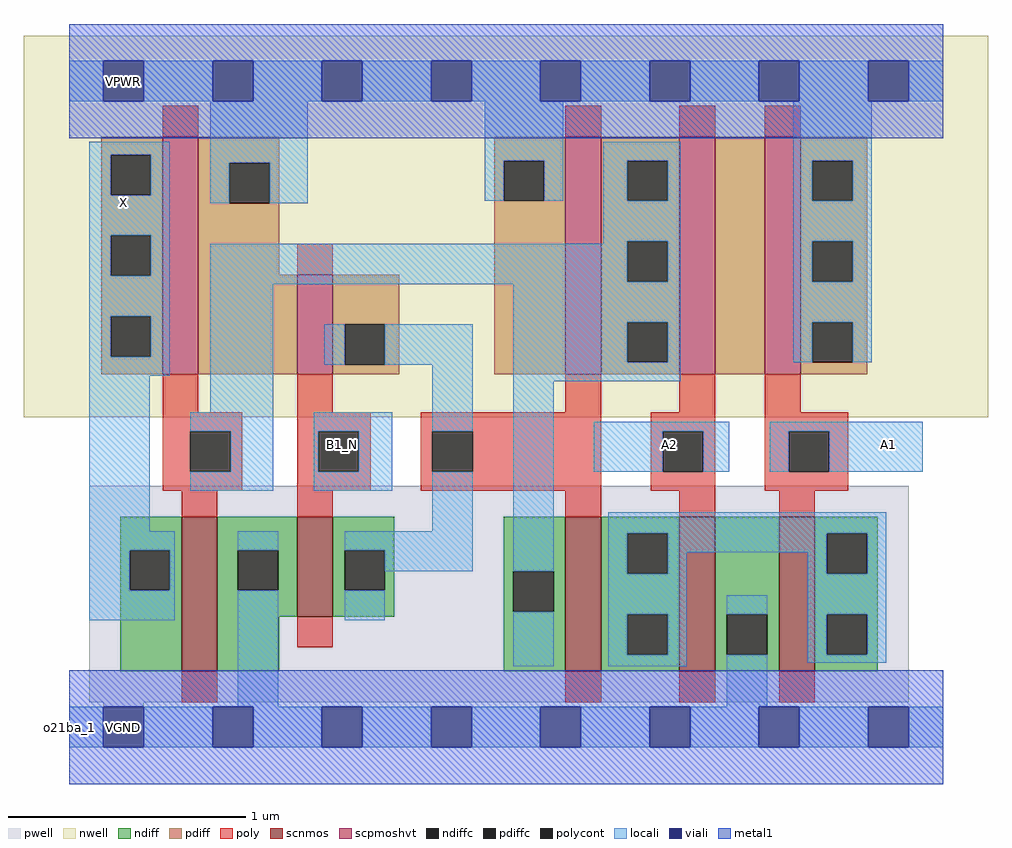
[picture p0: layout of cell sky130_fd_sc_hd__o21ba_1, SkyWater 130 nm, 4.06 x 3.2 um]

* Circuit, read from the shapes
.subckt sky130_fd_sc_hd__o21ba_1 VGND VPWR VPB VNB B1_N A1 A2 X
XM1 VGND n1 X VNB sky130_fd_pr__nfet_01v8 w=0.65 l=0.15
XM2 n2 B1_N VGND VNB sky130_fd_pr__nfet_01v8 w=0.42 l=0.15
XM3 n3 n2 n1 VNB sky130_fd_pr__nfet_01v8 w=0.65 l=0.15
XM4 VGND A2 n3 VNB sky130_fd_pr__nfet_01v8 w=0.65 l=0.15
XM5 n3 A1 VGND VNB sky130_fd_pr__nfet_01v8 w=0.65 l=0.15
XM6 VPWR n1 X VPB sky130_fd_pr__pfet_01v8_hvt w=1 l=0.15
XM7 n2 B1_N VPWR VPB sky130_fd_pr__pfet_01v8_hvt w=0.42 l=0.15
XM8 n1 n2 VPWR VPB sky130_fd_pr__pfet_01v8_hvt w=1 l=0.15
XM9 n4 A2 n1 VPB sky130_fd_pr__pfet_01v8_hvt w=1 l=0.15
XM10 VPWR A1 n4 VPB sky130_fd_pr__pfet_01v8_hvt w=1 l=0.15
.ends

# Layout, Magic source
magic
tech sky130B
magscale 1 2
<< nwell >>
rect -38 221 774 542
<< pwell >>
rect 17 -19 707 163
rect 29 -57 63 -19
<< scnmos >>
rect 95 7 125 137
rect 192 53 222 137
rect 418 7 448 137
rect 514 7 544 137
rect 598 7 628 137
<< scpmoshvt >>
rect 79 257 109 457
rect 192 257 222 341
rect 418 257 448 457
rect 514 257 544 457
rect 586 257 616 457
<< ndiff >>
rect 43 109 95 137
rect 43 75 51 109
rect 85 75 95 109
rect 43 7 95 75
rect 125 109 192 137
rect 125 75 142 109
rect 176 75 192 109
rect 125 53 192 75
rect 222 109 274 137
rect 222 75 232 109
rect 266 75 274 109
rect 222 53 274 75
rect 366 91 418 137
rect 366 57 374 91
rect 408 57 418 91
rect 125 7 177 53
rect 366 7 418 57
rect 448 123 514 137
rect 448 89 470 123
rect 504 89 514 123
rect 448 55 514 89
rect 448 21 470 55
rect 504 21 514 55
rect 448 7 514 21
rect 544 55 598 137
rect 544 21 554 55
rect 588 21 598 55
rect 544 7 598 21
rect 628 123 681 137
rect 628 89 638 123
rect 672 89 681 123
rect 628 55 681 89
rect 628 21 638 55
rect 672 21 681 55
rect 628 7 681 21
<< pdiff >>
rect 27 442 79 457
rect 27 408 35 442
rect 69 408 79 442
rect 27 374 79 408
rect 27 340 35 374
rect 69 340 79 374
rect 27 306 79 340
rect 27 272 35 306
rect 69 272 79 306
rect 27 257 79 272
rect 109 435 177 457
rect 109 401 135 435
rect 169 401 177 435
rect 109 341 177 401
rect 358 437 418 457
rect 358 403 366 437
rect 400 403 418 437
rect 109 257 192 341
rect 222 299 278 341
rect 222 265 232 299
rect 266 265 278 299
rect 222 257 278 265
rect 358 257 418 403
rect 448 437 514 457
rect 448 403 470 437
rect 504 403 514 437
rect 448 369 514 403
rect 448 335 470 369
rect 504 335 514 369
rect 448 301 514 335
rect 448 267 470 301
rect 504 267 514 301
rect 448 257 514 267
rect 544 257 586 457
rect 616 437 672 457
rect 616 403 626 437
rect 660 403 672 437
rect 616 369 672 403
rect 616 335 626 369
rect 660 335 672 369
rect 616 301 672 335
rect 616 267 626 301
rect 660 267 672 301
rect 616 257 672 267
<< ndiffc >>
rect 51 75 85 109
rect 142 75 176 109
rect 232 75 266 109
rect 374 57 408 91
rect 470 89 504 123
rect 470 21 504 55
rect 554 21 588 55
rect 638 89 672 123
rect 638 21 672 55
<< pdiffc >>
rect 35 408 69 442
rect 35 340 69 374
rect 35 272 69 306
rect 135 401 169 435
rect 366 403 400 437
rect 232 265 266 299
rect 470 403 504 437
rect 470 335 504 369
rect 470 267 504 301
rect 626 403 660 437
rect 626 335 660 369
rect 626 267 660 301
<< poly >>
rect 79 457 109 483
rect 418 457 448 483
rect 514 457 544 483
rect 586 457 616 483
rect 192 341 222 367
rect 79 225 109 257
rect 192 225 222 257
rect 418 225 448 257
rect 514 225 544 257
rect 79 209 146 225
rect 79 175 102 209
rect 136 175 146 209
rect 79 159 146 175
rect 192 209 254 225
rect 192 175 210 209
rect 244 175 254 209
rect 192 159 254 175
rect 296 209 448 225
rect 296 175 306 209
rect 340 175 448 209
rect 296 159 448 175
rect 490 209 544 225
rect 490 175 500 209
rect 534 175 544 209
rect 490 159 544 175
rect 586 225 616 257
rect 586 209 656 225
rect 586 175 606 209
rect 640 175 656 209
rect 586 159 656 175
rect 95 137 125 159
rect 192 137 222 159
rect 418 137 448 159
rect 514 137 544 159
rect 598 137 628 159
rect 192 27 222 53
rect 95 -19 125 7
rect 418 -19 448 7
rect 514 -19 544 7
rect 598 -19 628 7
<< polycont >>
rect 102 175 136 209
rect 210 175 244 209
rect 306 175 340 209
rect 500 175 534 209
rect 606 175 640 209
<< locali >>
rect 0 487 29 521
rect 63 487 121 521
rect 155 487 213 521
rect 247 487 305 521
rect 339 487 397 521
rect 431 487 489 521
rect 523 487 581 521
rect 615 487 673 521
rect 707 487 736 521
rect 17 442 85 453
rect 17 408 35 442
rect 69 408 85 442
rect 17 374 85 408
rect 119 435 201 487
rect 119 401 135 435
rect 169 401 201 435
rect 350 437 416 487
rect 350 403 366 437
rect 400 403 416 437
rect 450 437 515 453
rect 450 403 470 437
rect 504 403 515 437
rect 17 340 35 374
rect 69 340 85 374
rect 450 369 515 403
rect 450 367 470 369
rect 17 306 85 340
rect 17 272 35 306
rect 69 272 85 306
rect 17 256 85 272
rect 119 335 470 367
rect 504 335 515 369
rect 119 333 515 335
rect 17 125 68 256
rect 119 225 172 333
rect 374 301 515 333
rect 215 265 232 299
rect 266 265 340 299
rect 102 209 172 225
rect 136 175 172 209
rect 102 159 172 175
rect 206 209 272 225
rect 206 175 210 209
rect 244 175 272 209
rect 206 159 272 175
rect 306 209 340 265
rect 306 125 340 175
rect 17 109 89 125
rect 17 75 51 109
rect 85 75 89 109
rect 17 50 89 75
rect 142 109 176 125
rect 142 -23 176 75
rect 232 109 340 125
rect 266 91 340 109
rect 374 267 470 301
rect 504 267 515 301
rect 610 437 676 487
rect 610 403 626 437
rect 660 403 676 437
rect 610 369 676 403
rect 610 335 626 369
rect 660 335 676 369
rect 610 301 676 335
rect 610 267 626 301
rect 660 267 676 301
rect 374 251 515 267
rect 374 91 408 251
rect 442 209 556 217
rect 442 175 500 209
rect 534 175 556 209
rect 590 209 719 217
rect 590 175 606 209
rect 640 175 719 209
rect 232 50 266 75
rect 374 11 408 57
rect 454 123 688 141
rect 454 89 470 123
rect 504 107 638 123
rect 504 89 520 107
rect 454 55 520 89
rect 622 89 638 107
rect 672 89 688 123
rect 454 21 470 55
rect 504 21 520 55
rect 454 11 520 21
rect 554 55 588 71
rect 554 -23 588 21
rect 622 55 688 89
rect 622 21 638 55
rect 672 21 688 55
rect 622 14 688 21
rect 0 -57 29 -23
rect 63 -57 121 -23
rect 155 -57 213 -23
rect 247 -57 305 -23
rect 339 -57 397 -23
rect 431 -57 489 -23
rect 523 -57 581 -23
rect 615 -57 673 -23
rect 707 -57 736 -23
<< viali >>
rect 29 487 63 521
rect 121 487 155 521
rect 213 487 247 521
rect 305 487 339 521
rect 397 487 431 521
rect 489 487 523 521
rect 581 487 615 521
rect 673 487 707 521
rect 29 -57 63 -23
rect 121 -57 155 -23
rect 213 -57 247 -23
rect 305 -57 339 -23
rect 397 -57 431 -23
rect 489 -57 523 -23
rect 581 -57 615 -23
rect 673 -57 707 -23
<< metal1 >>
rect 0 521 736 552
rect 0 487 29 521
rect 63 487 121 521
rect 155 487 213 521
rect 247 487 305 521
rect 339 487 397 521
rect 431 487 489 521
rect 523 487 581 521
rect 615 487 673 521
rect 707 487 736 521
rect 0 456 736 487
rect 0 -23 736 8
rect 0 -57 29 -23
rect 63 -57 121 -23
rect 155 -57 213 -23
rect 247 -57 305 -23
rect 339 -57 397 -23
rect 431 -57 489 -23
rect 523 -57 581 -23
rect 615 -57 673 -23
rect 707 -57 736 -23
rect 0 -88 736 -57
<< labels >>
rlabel comment s 0 -40 0 -40 4 o21ba_1
flabel metal1 s 29 -57 63 -23 0 FreeSans 200 0 0 0 VGND
port 2 nsew
flabel metal1 s 29 487 63 521 0 FreeSans 200 0 0 0 VPWR
port 3 nsew
flabel nwell s 29 487 63 521 0 FreeSans 200 0 0 0 VPB
port 5 nsew
flabel pwell s 29 -57 63 -23 0 FreeSans 200 0 0 0 VNB
port 6 nsew
flabel locali s 213 181 247 215 0 FreeSans 400 0 0 0 B1_N
port 7 nsew
flabel locali s 673 181 707 215 0 FreeSans 400 0 0 0 A1
port 8 nsew
flabel locali s 29 385 63 419 0 FreeSans 400 0 0 0 X
port 10 nsew
flabel locali s 489 181 523 215 0 FreeSans 400 0 0 0 A2
port 9 nsew
<< properties >>
string FIXED_BBOX 0 -40 736 504
string path 0.000 -1.000 18.400 -1.000 
<< end >>
